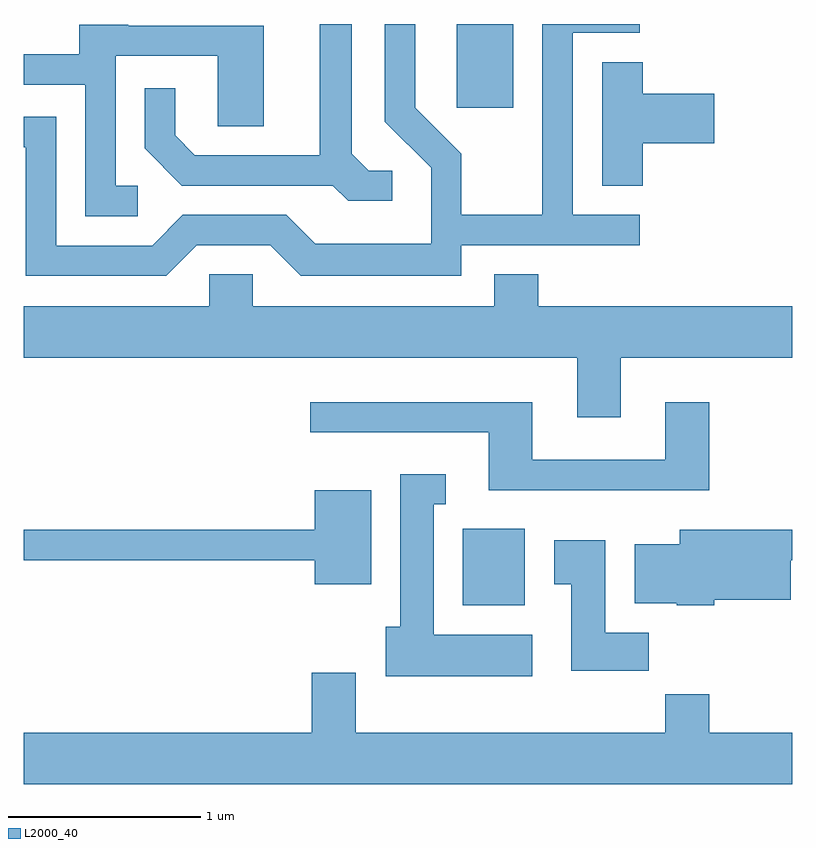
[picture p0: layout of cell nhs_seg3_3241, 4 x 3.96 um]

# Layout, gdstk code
import gdstk
lib = gdstk.Library(unit=1e-6, precision=1e-09)
def R(c, l, rs):  # rectangles x0, y0, x1, y1
    for r in rs: c.add(gdstk.rectangle(r[:2], r[2:], *l))
def P(c, l, *ps):  # polygons
    for p in ps: c.add(gdstk.Polygon(p, *l))
L2000_40 = (2000, 40)

nhs_seg3_3241 = lib.new_cell('nhs_seg3_3241')
R(nhs_seg3_3241, L2000_40, [(281.896,1206.866,282.219,1207.264), (281.866,1209.456,282.159,1209.892)])
P(nhs_seg3_3241, L2000_40, [(281.528,1209.129),(281.407,1209.129),(281.319,1209.217),(281.319,1209.892),(281.151,1209.892),(281.151,1209.209),(280.502,1209.209),(280.399,1209.312),(280.399,1209.558),(280.241,1209.558),(280.241,1209.244),(280.434,1209.051),(281.219,1209.051),(281.299,1208.971),(281.528,1208.971)],
  [(280.512,1208.741),(280.894,1208.741),(281.054,1208.581),(281.889,1208.581),(281.889,1208.741),(282.818,1208.741),(282.818,1208.899),(282.469,1208.899),(282.469,1209.846),(282.818,1209.846),(282.818,1209.892),(282.311,1209.892),(282.311,1208.899),(281.889,1208.899),(281.889,1209.217),(281.649,1209.457),(281.649,1209.892),(281.491,1209.892),(281.491,1209.384),(281.731,1209.144),(281.731,1208.749),(281.127,1208.749),(280.977,1208.899),(280.439,1208.899),(280.279,1208.739),(279.779,1208.739),(279.779,1209.409),(279.611,1209.409),(279.611,1209.251),(279.621,1209.251),(279.621,1208.581),(280.352,1208.581)],
  [(280.203,1209.049),(280.089,1209.049),(280.089,1209.726),(280.621,1209.726),(280.621,1209.361),(280.859,1209.361),(280.859,1209.884),(280.155,1209.884),(280.155,1209.889),(279.901,1209.889),(279.901,1209.734),(279.611,1209.734),(279.611,1209.576),(279.931,1209.576),(279.931,1208.891),(280.203,1208.891)],
  [(282.834,1209.271),(283.204,1209.271),(283.204,1209.529),(282.834,1209.529),(282.834,1209.694),(282.621,1209.694),(282.621,1209.051),(282.834,1209.051)],
  [(282.719,1208.156),(283.611,1208.156),(283.611,1208.424),(282.289,1208.424),(282.289,1208.589),(282.061,1208.589),(282.061,1208.424),(280.804,1208.424),(280.804,1208.589),(280.576,1208.589),(280.576,1208.424),(279.611,1208.424),(279.611,1208.156),(282.491,1208.156),(282.491,1207.846),(282.719,1207.846)],
  [(283.179,1207.924),(282.951,1207.924),(282.951,1207.624),(282.259,1207.624),(282.259,1207.924),(281.103,1207.924),(281.103,1207.766),(282.031,1207.766),(282.031,1207.466),(283.179,1207.466)],
  [(282.259,1206.714),(281.744,1206.714),(281.744,1207.391),(281.808,1207.391),(281.808,1207.549),(281.571,1207.549),(281.571,1206.754),(281.496,1206.754),(281.496,1206.496),(282.259,1206.496)],
  [(281.419,1207.464),(281.126,1207.464),(281.126,1207.259),(279.611,1207.259),(279.611,1207.101),(281.126,1207.101),(281.126,1206.976),(281.419,1206.976)],
  [(283.204,1206.896),(283.604,1206.896),(283.604,1207.101),(283.611,1207.101),(283.611,1207.259),(283.026,1207.259),(283.026,1207.184),(282.791,1207.184),(282.791,1206.876),(283.01,1206.876),(283.01,1206.866),(283.204,1206.866)],
  [(282.864,1206.724),(282.639,1206.724),(282.639,1207.204),(282.371,1207.204),(282.371,1206.976),(282.461,1206.976),(282.461,1206.526),(282.864,1206.526)],
  [(283.611,1206.204),(283.179,1206.204),(283.179,1206.404),(282.951,1206.404),(282.951,1206.204),(281.339,1206.204),(281.339,1206.514),(281.111,1206.514),(281.111,1206.204),(279.611,1206.204),(279.611,1205.936),(283.611,1205.936)])

lib.write_gds('nhs_seg3_3241.gds')
